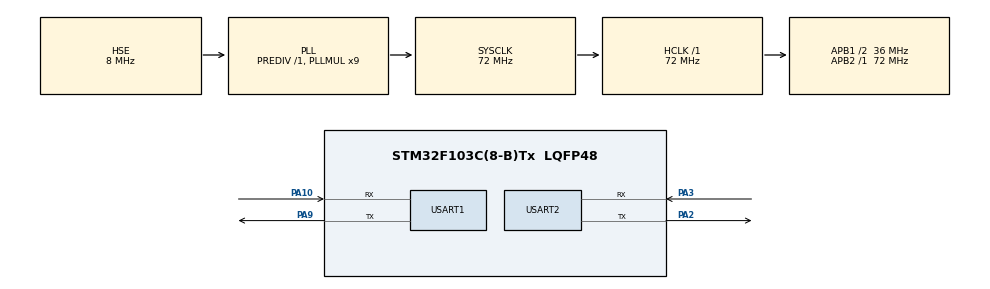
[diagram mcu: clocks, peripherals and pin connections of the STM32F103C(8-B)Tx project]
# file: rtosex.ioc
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Dma.Request0=USART2_RX
Dma.USART2_RX.0.Direction=DMA_PERIPH_TO_MEMORY
Dma.USART2_RX.0.Instance=DMA1_Channel6
Dma.USART2_RX.0.MemDataAlignment=DMA_MDATAALIGN_BYTE
Dma.USART2_RX.0.MemInc=DMA_MINC_ENABLE
Dma.USART2_RX.0.Mode=DMA_NORMAL
Dma.USART2_RX.0.PeriphDataAlignment=DMA_PDATAALIGN_BYTE
Dma.USART2_RX.0.PeriphInc=DMA_PINC_DISABLE
Dma.USART2_RX.0.Priority=DMA_PRIORITY_LOW
Mcu.Family=STM32F1
Mcu.Name=STM32F103C(8-B)Tx
Mcu.Package=LQFP48
NVIC.DMA1_Channel6_IRQn=true\:0\:0\:false\:false\:true\:false\:true
NVIC.PriorityGroup=NVIC_PRIORITYGROUP_4
NVIC.USART2_IRQn=true\:0\:0\:false\:false\:true\:true\:true
PA10.Mode=Asynchronous
PA10.Signal=USART1_RX
PA13.Mode=Serial_Wire
PA13.Signal=SYS_JTMS-SWDIO
PA14.Mode=Serial_Wire
PA14.Signal=SYS_JTCK-SWCLK
PA2.Mode=Asynchronous
PA2.Signal=USART2_TX
PA3.GPIO_PuPd=GPIO_PULLUP
PA3.Mode=Asynchronous
PA3.Signal=USART2_RX
PA9.Mode=Asynchronous
PA9.Signal=USART1_TX
PD0-OSC_IN.Mode=HSE-External-Oscillator
PD0-OSC_IN.Signal=RCC_OSC_IN
PD1-OSC_OUT.Mode=HSE-External-Oscillator
PD1-OSC_OUT.Signal=RCC_OSC_OUT
ProjectManager.HeapSize=0x200
ProjectManager.StackSize=0x400
ProjectManager.TargetToolchain=MDK-ARM V5
RCC.AHBFreq_Value=72000000
RCC.APB1CLKDivider=RCC_HCLK_DIV2
RCC.APB1Freq_Value=36000000
RCC.APB1TimFreq_Value=72000000
RCC.APB2Freq_Value=72000000
RCC.APB2TimFreq_Value=72000000
RCC.HCLKFreq_Value=72000000
RCC.PLLMUL=RCC_PLL_MUL9
RCC.PLLSourceVirtual=RCC_PLLSOURCE_HSE
RCC.SYSCLKFreq_VALUE=72000000
RCC.SYSCLKSource=RCC_SYSCLKSOURCE_PLLCLK
RCC.USBFreq_Value=72000000
USART1.VirtualMode=VM_ASYNC
USART2.VirtualMode=VM_ASYNC
board=custom

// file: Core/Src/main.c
/* USER CODE BEGIN Header */
/**
  ******************************************************************************
  * @file           : main.c
  * @brief          : Main program body
  ******************************************************************************
  * @attention
  *
  * <h2><center>&copy; Copyright (c) 2021 STMicroelectronics.
  * All rights reserved.</center></h2>
  *
  * This software component is licensed by ST under BSD 3-Clause license,
  * the "License"; You may not use this file except in compliance with the
  * License. You may obtain a copy of the License at:
  *                        opensource.org/licenses/BSD-3-Clause
  *
  ******************************************************************************
  */
/* USER CODE END Header */
#include "main.h"
#include "dma.h"
#include "usart.h"
#include "gpio.h"

/* USER CODE BEGIN Includes */

//#include "FreeRTOS.h"
//#include "task.h"
/* USER CODE END Includes */

void SystemClock_Config(void);
/* USER CODE BEGIN PFP */
#ifdef __GNUC__
/* With GCC/RAISONANCE, small printf (option LD Linker->Libraries->Small printf
   set to 'Yes') calls __io_putchar() */
#define PUTCHAR_PROTOTYPE int __io_putchar(int ch)
#else
#define PUTCHAR_PROTOTYPE int fputc(int ch, FILE *f)
#endif /* __GNUC__ */
/**
  * @brief  Retargets the C library printf function to the USART.
  * @param  None
  * @retval None
  */
PUTCHAR_PROTOTYPE
{
  /* Place your implementation of fputc here */
  /* e.g. write a character to the USART4 and Loop until the end of transmission */
  HAL_UART_Transmit(&huart2, (uint8_t *)&ch, 1,0xFFFF);

  return ch;
}

extern void vUARTCommandConsoleStart( uint16_t usStackSize, UBaseType_t uxPriority );
extern void vRegisterSampleCLICommands( void );
/* USER CODE END PFP */

/* USER CODE BEGIN 0 */
TaskHandle_t appTaskCreate_handle = NULL;
static StackType_t appTaskStack[configMINIMAL_STACK_SIZE];		// app创建task任务栈 大小512
StaticTask_t appTaskTCB; 																			// app创建task任务控制块指针定义

// 创建线程任务的task
void AppTasksCreate(void* pvParameters)
{
	taskENTER_CRITICAL();

	// 线程创建示例
//	TaskCreate();
//	TaskCreateStatic();

	// CLI示例
	vUARTCommandConsoleStart(1024, 1);

	// 消息队列示例
//	TaskCreateForQueue();
//	TaskCreateStaticForQueue();

	// 信号量示例
//	TaskCreateForSemaphore();
//	TaskCreateStaticForSemaphore();

	// 临界区
//	TaskCreateForCritical();
//	TaskCreateStaticForCritical();

	// 守护任务
//	TaskCreateForDaemon();
//	TaskCreateStaticForDaemon();

	// 事件
//	createEvent();
//	TaskCreateForEvent();
//	TaskCreateStaticForEvent();

	// 任务通知
//	TaskCreateForNotify();
//	TaskCreateStaticForNotify();

	// 定时器
	CreateForLifeTimer();
	CreateStaticForTestTimer();

	taskEXIT_CRITICAL();

	vTaskDelete(appTaskCreate_handle);  // 创建完工作任务后，删除该启动任务
}
// 空闲任务堆、栈、任务控制块的分配
static StackType_t IdleTaskStack[configMINIMAL_STACK_SIZE];   // 空闲任务栈 大小为512
static StaticTask_t IdleTaskTCB;  														// 空闲任务控制块指针定义
void vApplicationGetIdleTaskMemory(StaticTask_t **ppxIdleTaskTCBBuffer, StackType_t **ppxIdleTaskStackBuffer, uint32_t *pulIdleTaskStackSize)
{
	*ppxIdleTaskTCBBuffer = &IdleTaskTCB;
	*ppxIdleTaskStackBuffer = IdleTaskStack;
	*pulIdleTaskStackSize = configMINIMAL_STACK_SIZE;
}
// 定时器任务堆、栈、任务控制块的分配
static StackType_t TimerTaskStack[configMINIMAL_STACK_SIZE*2];  // 空闲任务栈 大小为256
static StaticTask_t TimerTaskTCB;  														// 空闲任务控制块指针定义
void vApplicationGetTimerTaskMemory(StaticTask_t **ppxTimerTaskTCBBuffer, StackType_t **ppxTimerTaskStackBuffer, uint32_t *pulTimerTaskStackSize)
{
	*ppxTimerTaskTCBBuffer = &TimerTaskTCB;
	*ppxTimerTaskStackBuffer = TimerTaskStack;
	*pulTimerTaskStackSize = configMINIMAL_STACK_SIZE*2;
}
uint8_t uart2_recv_buff[RECV_BUFF_MAX];
/* USER CODE END 0 */

int main(void)
{

  /* MCU Configuration--------------------------------------------------------*/

  /* Reset of all peripherals, Initializes the Flash interface and the Systick. */
  HAL_Init();

  /* Configure the system clock */
  SystemClock_Config();

  /* Initialize all configured peripherals */
  MX_GPIO_Init();
  MX_DMA_Init();
  MX_USART1_UART_Init();
  MX_USART2_UART_Init();
  /* USER CODE BEGIN 2 */
//	unsigned int testCount = 0;

	createMutex();
	createDaemonQueue();
	vRegisterSampleCLICommands();

	appTaskCreate_handle = xTaskCreateStatic((TaskFunction_t)AppTasksCreate,					// 任务入口函数
																					(char*)					"AppTasksCreate",					// 任务名称
																					(uint32_t)			configMINIMAL_STACK_SIZE,	// 任务线程栈大小
																					(void*)					NULL,											// 任务入口函数参数
																					(UBaseType_t)		tskIDLE_PRIORITY,					// 任务优先级-默认idle优先级
																					(StackType_t*)	appTaskStack,							// 任务线程栈地址起点
																					(StaticTask_t*)	&appTaskTCB								// 任务控制块
																					);
	if (appTaskCreate_handle != NULL)
		vTaskStartScheduler();
  /* USER CODE END 2 */

  /* Infinite loop */
  while (1)
  {

    /* USER CODE BEGIN 3 */
//		printf("testCount: %d S", testCount++);
//		HAL_Delay(1000*2);
  }
  /* USER CODE END 3 */
}

void SystemClock_Config(void)
{
  RCC_OscInitTypeDef RCC_OscInitStruct = {0};
  RCC_ClkInitTypeDef RCC_ClkInitStruct = {0};

  /** Initializes the RCC Oscillators according to the specified parameters
  * in the RCC_OscInitTypeDef structure.
  */
  RCC_OscInitStruct.OscillatorType = RCC_OSCILLATORTYPE_HSE;
  RCC_OscInitStruct.HSEState = RCC_HSE_ON;
  RCC_OscInitStruct.HSEPredivValue = RCC_HSE_PREDIV_DIV1;
  RCC_OscInitStruct.HSIState = RCC_HSI_ON;
  RCC_OscInitStruct.PLL.PLLState = RCC_PLL_ON;
  RCC_OscInitStruct.PLL.PLLSource = RCC_PLLSOURCE_HSE;
  RCC_OscInitStruct.PLL.PLLMUL = RCC_PLL_MUL9;
  if (HAL_RCC_OscConfig(&RCC_OscInitStruct) != HAL_OK)
  {
    Error_Handler();
  }
  /** Initializes the CPU, AHB and APB buses clocks
  */
  RCC_ClkInitStruct.ClockType = RCC_CLOCKTYPE_HCLK|RCC_CLOCKTYPE_SYSCLK
                              |RCC_CLOCKTYPE_PCLK1|RCC_CLOCKTYPE_PCLK2;
  RCC_ClkInitStruct.SYSCLKSource = RCC_SYSCLKSOURCE_PLLCLK;
  RCC_ClkInitStruct.AHBCLKDivider = RCC_SYSCLK_DIV1;
  RCC_ClkInitStruct.APB1CLKDivider = RCC_HCLK_DIV2;
  RCC_ClkInitStruct.APB2CLKDivider = RCC_HCLK_DIV1;

  if (HAL_RCC_ClockConfig(&RCC_ClkInitStruct, FLASH_LATENCY_2) != HAL_OK)
  {
    Error_Handler();
  }
}

void Error_Handler(void)
{
}

/************************ (C) COPYRIGHT STMicroelectronics *****END OF FILE****/
